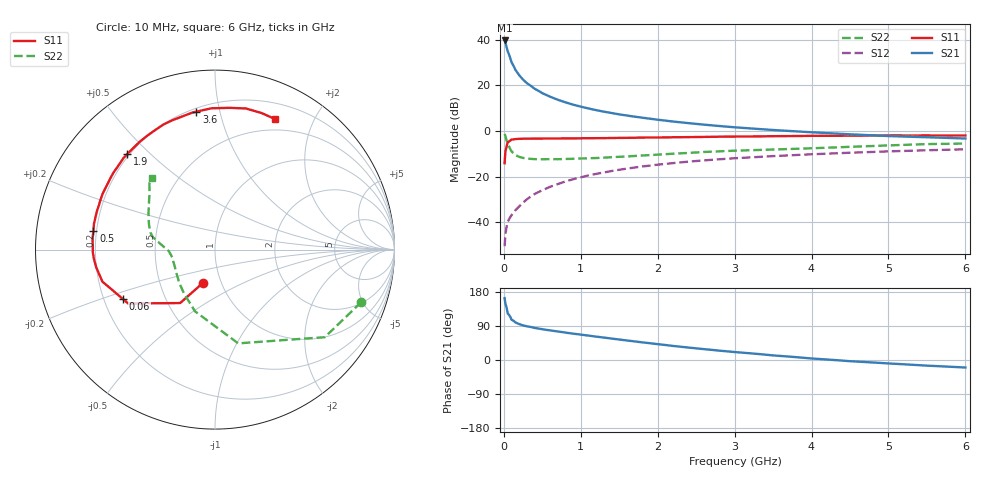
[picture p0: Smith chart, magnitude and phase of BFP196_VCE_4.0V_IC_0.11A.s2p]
! Infineon Technologies  Discrete & RF Semiconductors
! BFP196
! VCE =  4.0 V,  IC = 0.11 A
! Common Emitter S-Parameters:  Jan 2017
# GHz  S  MA  R  50
!  f  S11  S21  S12  S22
! GHz  MAG  ANG  MAG  ANG  MAG  ANG  MAG  ANG
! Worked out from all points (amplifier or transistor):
!   77 points, 10 MHz to 6 GHz, reference 50 ohm
!   highest |S21| = 39.7 dB at 10 MHz (marker M1)
!   |S21| within 3 dB of that: start of sweep to 36.55 MHz
!   unconditionally stable (mu >= 1): 378.3 MHz to 2.507 GHz
!   at 130 MHz: K = 0.80, MSG = 31.9 dB, |S12| = -35.5 dB
!   at 2.2 GHz: K = 1.01, MAG = 8.5 dB, |S12| = -14.0 dB
!   at 6 GHz: K = 0.96, MSG = 2.4 dB, |S12| = -8.0 dB
!   S11 on the Smith chart (normalised r, x): 10 MHz: 0.82, -0.32; 60 MHz: 0.28, -0.23; 500 MHz: 0.19, +0.08; 1.9 GHz: 0.19, +0.43; 3.6 GHz: 0.22, +0.85; 6 GHz: 0.37, +1.49
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0.01  0.1971 -109.9  97.15 163.3  0.003 76.9  0.8659 -19.8
0.02  0.3554 -123.1  87.9 149.0  0.0054 68.7  0.7824 -38.6
0.05  0.5694 -148.2  56.52 122.8  0.0102 56.2  0.5383 -76.1
0.06  0.582 -151.7  51.44 120.8  0.011 57.2  0.4936 -80.5
0.1  0.6521 -164.1  32.28 106.3  0.0144 60.1  0.3616 -107.9
0.15  0.6689 -171.4  22.11 99.2  0.0184 62.8  0.2989 -125.4
0.2  0.6765 -175.5  16.75 94.7  0.0224 66.5  0.2726 -136.7
0.25  0.681 -178.8  13.45 91.3  0.0271 67.2  0.2583 -144.0
0.3  0.681 178.8  11.25 88.9  0.032 69.6  0.2503 -150.1
0.4  0.6851 174.7  8.494 84.7  0.0417 71.2  0.2431 -157.5
0.5  0.6858 171.1  6.797 81.2  0.0505 71.2  0.2415 -162.5
0.6  0.6894 167.9  5.691 78.1  0.06 70.5  0.2428 -166.5
0.8  0.6919 162.1  4.277 72.3  0.0788 70.2  0.2446 -171.5
1.1  0.699 153.7  3.138 64.4  0.1069 66.3  0.254 -176.4
1.5  0.7096 143.1  2.328 54.1  0.142 60.8  0.2731 178.5
1.9  0.7233 132.6  1.869 44.3  0.1753 55.2  0.298 174.9
2.1  0.7279 127.6  1.698 39.6  0.191 52.0  0.3121 173.3
3.1  0.7604 106.5  1.179 19.4  0.2593 37.7  0.3766 163.7
3.6  0.7755 97.7  1.033 10.6  0.2881 31.5  0.3993 157.4
4.1  0.7878 90.1  0.924 2.7  0.3151 25.2  0.4263 150.2
5.1  0.8039 76.4  0.769 -10.2  0.3632 13.4  0.4922 137.8
6  0.8006 65.5  0.688 -19.8  0.3994 3.3  0.5333 131.4
